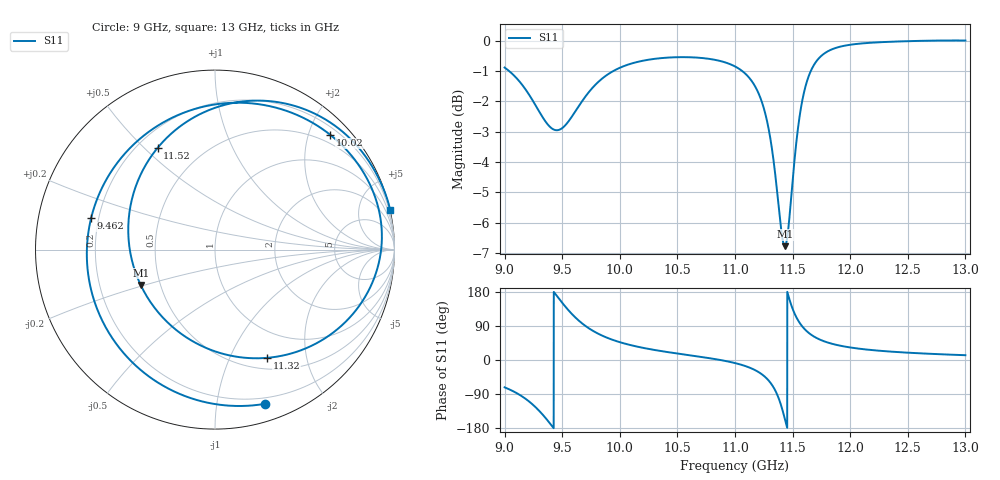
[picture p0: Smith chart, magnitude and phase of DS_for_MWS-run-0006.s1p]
! TOUCHSTONE file generated by CST DESIGN STUDIO
! Date and time: Tue Feb  4 16:00:37 2025
! Project name: C:\Work\MatlabApps\UnitCellOptimizationMatlab\CST\unitcell.cst
! Tree item: Tasks\Sweep1\SPara1\S-Parameters
! Header version: 2024
! Port assignment regex: !\s*Touchstone port\s*([0-9]+)\s*=\s*(CST MWS port|CST DES external port|CST DES block port)\s*(.+)\s* \(\"(.*)\"\)(\s*mode\s*([0-9]+))?.*
! Touchstone port assignment:
! Touchstone port 1 = CST DES external port 1 ("")
# GHz S MA R 50
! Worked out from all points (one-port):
!   4001 points, 9 GHz to 13 GHz, reference 50 ohm
!   lowest |S11| = -6.8 dB at 11.43 GHz (marker M1), VSWR 2.69, Z = 19.4 - j9.69 ohm
!   |S11| at or under -10 dB: nowhere
!   S11 on the Smith chart (normalised r, x): 9 GHz: 0.15, -1.36; 9.462 GHz: 0.17, +0.12; 10.02 GHz: 0.33, +2.38; 11.32 GHz: 0.64, -1.39; 11.52 GHz: 0.28, +0.55; 13 GHz: -0.02, +9.02
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9  0.903 -72.1
9.138  0.8525 -93.4
9.243  0.7974 -117.3
9.366  0.7311 -156.9
9.462  0.7121 165.8
9.5  0.7176 151.0
9.593  0.7541 118.6
9.691  0.8039 92.3
9.838  0.8633 65.6
10  0.9022 47.0
10.024  0.9062 44.9
10.229  0.9288 30.5
10.5  0.9391 17.1
11  0.9069 -8.1
11.194  0.8271 -30.0
11.26  0.7618 -44.3
11.318  0.669 -64.4
11.378  0.5354 -100.1
11.432  0.4586 -154.5
11.465  0.4945 167.8
11.5  0.5869 135.2
11.522  0.6512 119.4
11.596  0.8171 84.3
11.713  0.9281 57.3
11.832  0.9659 43.6
12  0.9846 33.1
12.5  0.998 19.3
13  1 12.7
